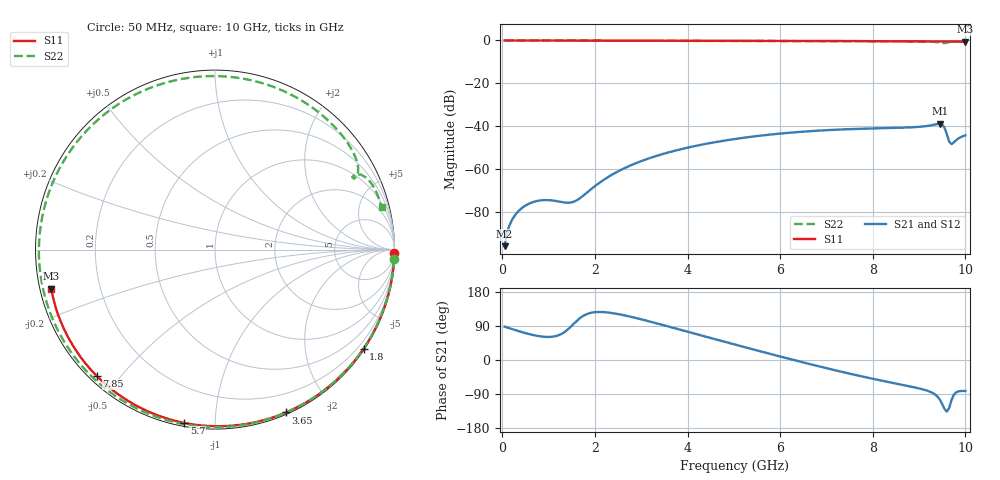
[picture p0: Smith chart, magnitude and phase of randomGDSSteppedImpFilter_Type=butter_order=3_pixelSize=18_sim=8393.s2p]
! freq	dB(S11)	phase(S11)	dB(S12)	phase(S12)
!  dB(S21)	phase(S21)	dB(S22)	phase(S22)
!S-par simulation data
#  GHz  S  DB  R 50
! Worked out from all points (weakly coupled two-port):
!   200 points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, 50 MHz to 10 GHz, reference 50 ohm
!   highest |S21| = -38.86 dB at 9.45 GHz (marker M1); lowest = -96.0 dB at 50 MHz (marker M2)
!   lowest |S11| = -0.6 dB at 10 GHz (marker M3), VSWR 31.26, Z = 1.62 - j5.86 ohm
!   |S11| at or under -10 dB: nowhere
!   |S22| runs from -1.3 to 0.0 dB; largest |S21 - S12| = 0
!   S11 on the Smith chart (normalised r, x): 50 MHz: open; 1.8 GHz: 0.03, -3.30; 3.65 GHz: 0.02, -1.53; 5.7 GHz: 0.02, -0.84; 7.85 GHz: 0.02, -0.43; 10 GHz: 0.03, -0.12
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0.05  -0.00 -1.0  -95.97 88.0  -95.97 88.0  -0.00 -3.2
0.3  -0.01 -5.7  -80.80 78.2  -80.80 78.2  -0.02 -18.7
0.6  -0.01 -11.4  -75.94 67.7  -75.94 67.7  -0.05 -36.8
0.9  -0.02 -17.0  -74.48 61.3  -74.48 61.3  -0.07 -54.0
1.45  -0.03 -27.2  -75.68 84.5  -75.68 84.5  -0.09 -82.9
1.75  -0.04 -32.8  -72.37 116.6  -72.37 116.6  -0.10 -97.0
1.8  -0.04 -33.7  -71.49 119.7  -71.49 119.7  -0.10 -99.3
2.5  -0.06 -46.3  -61.07 121.2  -61.07 121.2  -0.12 -127.8
3.4  -0.08 -62.1  -53.39 94.6  -53.39 94.6  -0.14 -158.5
3.65  -0.09 -66.4  -51.86 86.3  -51.86 86.3  -0.15 -166.2
4.35  -0.11 -78.2  -48.42 63.0  -48.42 63.0  -0.17 173.4
5.05  -0.14 -89.6  -45.88 39.9  -45.88 39.9  -0.20 154.1
5.7  -0.17 -100.0  -44.10 18.8  -44.10 18.8  -0.22 136.5
6.7  -0.23 -115.5  -42.23 -12.6  -42.23 -12.6  -0.26 109.1
7.85  -0.32 -133.1  -41.15 -45.6  -41.15 -45.6  -0.32 76.4
8.35  -0.36 -140.7  -40.89 -58.5  -40.89 -58.5  -0.34 61.5
9.1  -0.44 -152.3  -40.10 -78.1  -40.10 -78.1  -0.47 38.3
9.45  -0.48 -157.8  -38.86 -105.0  -38.86 -105.0  -1.03 27.3
9.55  -0.49 -159.4  -40.70 -129.3  -40.70 -129.3  -1.27 27.9
9.65  -0.51 -161.0  -47.22 -126.4  -47.22 -126.4  -0.78 27.2
9.7  -0.52 -161.8  -48.36 -105.6  -48.36 -105.6  -0.59 25.3
10  -0.56 -166.6  -44.29 -81.8  -44.29 -81.8  -0.38 14.2
